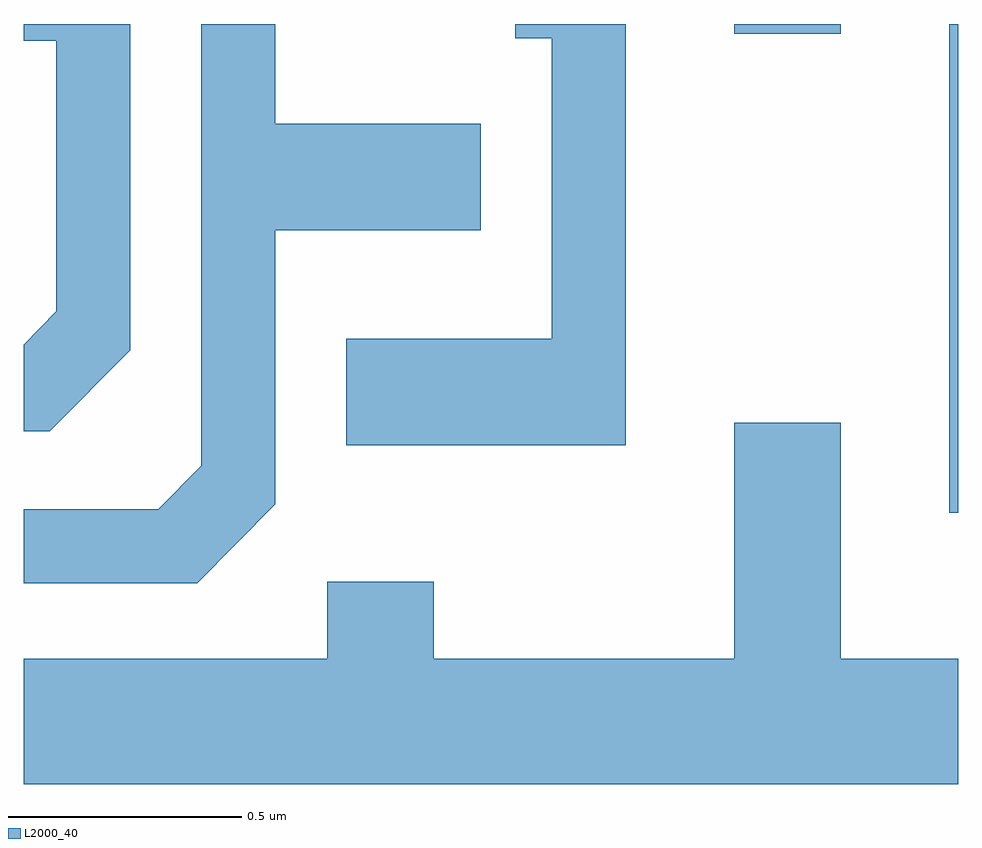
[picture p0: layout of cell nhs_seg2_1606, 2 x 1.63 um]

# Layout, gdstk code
import gdstk
lib = gdstk.Library(unit=1e-6, precision=1e-09)
def R(c, l, rs):  # rectangles x0, y0, x1, y1
    for r in rs: c.add(gdstk.rectangle(r[:2], r[2:], *l))
def P(c, l, *ps):  # polygons
    for p in ps: c.add(gdstk.Polygon(p, *l))
L2000_40 = (2000, 40)

nhs_seg2_1606 = lib.new_cell('nhs_seg2_1606')
R(nhs_seg2_1606, L2000_40, [(198.591,1077.756,198.611,1078.802), (198.131,1078.781,198.359,1078.802)])
P(nhs_seg2_1606, L2000_40, [(196.839,1078.104),(196.839,1078.802),(196.611,1078.802),(196.611,1078.766),(196.681,1078.766),(196.681,1078.187),(196.611,1078.116),(196.611,1077.931),(196.667,1077.931)],
  [(197.899,1078.802),(197.663,1078.802),(197.663,1078.771),(197.741,1078.771),(197.741,1078.129),(197.301,1078.129),(197.301,1077.901),(197.899,1077.901)],
  [(197.149,1077.774),(197.149,1078.361),(197.589,1078.361),(197.589,1078.589),(197.149,1078.589),(197.149,1078.802),(196.991,1078.802),(196.991,1077.857),(196.899,1077.764),(196.611,1077.764),(196.611,1077.606),(196.982,1077.606)],
  [(198.611,1077.444),(198.359,1077.444),(198.359,1077.949),(198.131,1077.949),(198.131,1077.444),(197.489,1077.444),(197.489,1077.609),(197.261,1077.609),(197.261,1077.444),(196.611,1077.444),(196.611,1077.176),(198.611,1077.176)])

lib.write_gds('nhs_seg2_1606.gds')
